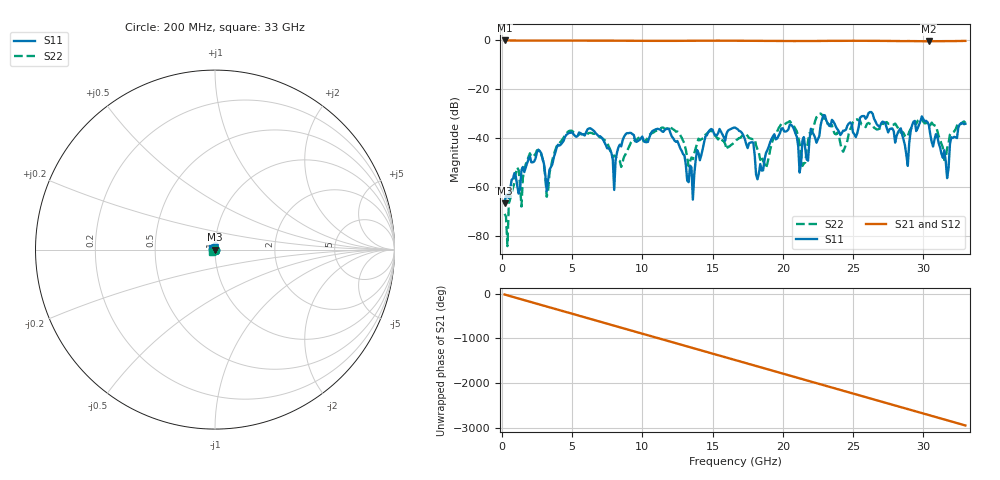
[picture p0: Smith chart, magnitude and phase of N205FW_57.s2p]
# GHZ S RI R 50
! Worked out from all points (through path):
!   329 points, 200 MHz to 33 GHz, reference 50 ohm
!   highest |S21| = -0.02 dB at 200 MHz (marker M1); lowest = -0.4 dB at 30.4 GHz (marker M2)
!   group delay of S21, straight-line fit = 248 ps
!   lowest |S11| = -66.6 dB at 200 MHz (marker M3), VSWR 1.00, Z = 50 + j0.00976 ohm
!   |S11| at or under -10 dB: start of sweep to end of sweep
!   |S22| runs from -84.2 to -29.9 dB; largest |S21 - S12| = 0.0022
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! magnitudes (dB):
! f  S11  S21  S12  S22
! 200 MHz  -66.6  0.0  0.0  -71.0
! 1.1 GHz  -59.5  -0.1  -0.1  -52.0
! 1.4 GHz  -53.0  -0.1  -0.1  -68.0
! 2 GHz  -47.4  -0.1  -0.1  -46.2
! 3.2 GHz  -61.7  -0.1  -0.1  -64.0
! 4 GHz  -42.7  -0.1  -0.1  -42.2
! 5.7 GHz  -38.4  -0.1  -0.1  -38.4
! 7.7 GHz  -44.9  -0.1  -0.1  -44.4
! 8 GHz  -61.2  -0.1  -0.1  -47.1
! 8.8 GHz  -38.5  -0.1  -0.1  -46.7
! 11.2 GHz  -36.4  -0.2  -0.2  -36.2
! 13.6 GHz  -65.2  -0.1  -0.1  -48.6
! 13.9 GHz  -44.8  -0.1  -0.1  -42.1
! 16.6 GHz  -35.7  -0.1  -0.1  -41.5
! 18.2 GHz  -56.8  -0.2  -0.2  -44.5
! 22.1 GHz  -37.5  -0.3  -0.3  -37.5
! 27.6 GHz  -36.3  -0.2  -0.2  -34.1
! 28.9 GHz  -51.3  -0.3  -0.3  -39.3
! 29.3 GHz  -33.3  -0.3  -0.3  -34.4
! 30.4 GHz  -34.6  -0.4  -0.4  -33.8
! 31.7 GHz  -56.4  -0.3  -0.3  -44.1
! 33 GHz  -34.1  -0.2  -0.2  -33.7
